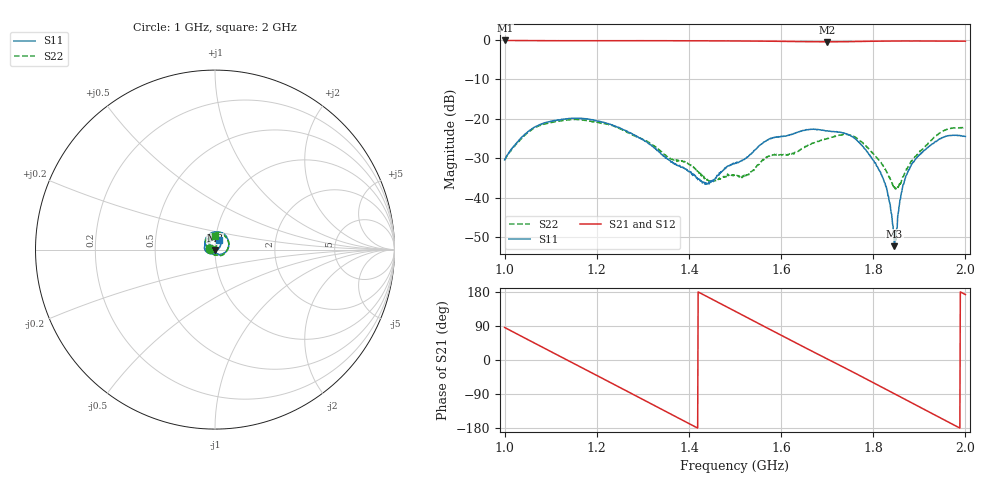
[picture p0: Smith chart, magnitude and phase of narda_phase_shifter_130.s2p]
#  HZ  S  DB  R  50.00
! Rohde & Schwarz Vector Network Analyzer
! Rohde-Schwarz,ZNB8-4Port,1311601044102961,2.82
! Created: UTC 3/4/2022, 4:07:11 PM
! freq[Hz]  db:S11  ang:S11  db:S21  ang:S21  db:S12  ang:S12  db:S22  ang:S22
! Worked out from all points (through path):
!   1001 points, 1 GHz to 2 GHz, reference 50 ohm
!   highest |S21| = -0.20 dB at 1.001 GHz (marker M1); lowest = -0.5 dB at 1.7 GHz (marker M2)
!   group delay of S21, straight-line fit = 1.76 ns
!   lowest |S11| = -52.3 dB at 1.846 GHz (marker M3), VSWR 1.00, Z = 50 - j0.242 ohm
!   |S11| at or under -10 dB: start of sweep to end of sweep
!   |S22| runs from -37.9 to -20.2 dB; largest |S21 - S12| = 0.0025
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1e9  -30.45 174.7  -0.21 85.8  -0.19 85.9  -30.50 176.9
1.001e9  -30.27 174.0  -0.20 85.2  -0.19 85.2  -30.31 176.9
1.043e9  -24.11 148.5  -0.22 58.5  -0.21 58.4  -24.32 144.0
1.091e9  -20.94 114.4  -0.25 28.1  -0.24 28.1  -21.24 115.1
1.167e9  -19.97 64.1  -0.26 -19.9  -0.27 -19.9  -20.32 65.9
1.254e9  -22.59 6.3  -0.26 -74.9  -0.26 -74.9  -22.75 6.3
1.293e9  -24.93 -18.8  -0.26 -99.7  -0.26 -99.7  -24.93 -24.3
1.334e9  -28.20 -46.9  -0.26 -125.7  -0.26 -125.7  -27.76 -54.3
1.417e9  -35.02 -83.5  -0.28 -178.5  -0.28 -178.4  -32.86 -126.7
1.441e9  -36.52 -95.5  -0.29 166.2  -0.29 166.2  -35.62 -145.5
1.5e9  -31.38 -124.0  -0.32 128.8  -0.33 128.8  -34.32 -159.9
1.58e9  -24.94 -179.0  -0.40 78.1  -0.39 78.1  -29.32 176.7
1.667e9  -22.66 124.0  -0.51 23.4  -0.51 23.4  -26.24 153.2
1.7e9  -23.08 101.9  -0.55 2.9  -0.53 2.9  -25.09 142.3
1.775e9  -26.75 45.3  -0.44 -43.8  -0.43 -43.8  -25.93 90.9
1.814e9  -33.26 16.3  -0.37 -68.6  -0.37 -68.6  -30.72 69.8
1.834e9  -40.40 -12.5  -0.36 -81.4  -0.35 -81.4  -34.77 73.1
1.846e9  -52.33 -89.8  -0.35 -89.0  -0.34 -89.0  -37.28 95.5
1.866e9  -36.64 167.6  -0.33 -101.8  -0.33 -101.8  -34.53 147.1
1.888e9  -30.97 148.1  -0.33 -115.9  -0.33 -115.9  -30.12 153.0
1.947e9  -25.05 111.2  -0.35 -153.6  -0.35 -153.6  -23.41 120.4
2e9  -24.52 70.7  -0.38 172.7  -0.38 172.7  -22.20 88.3
